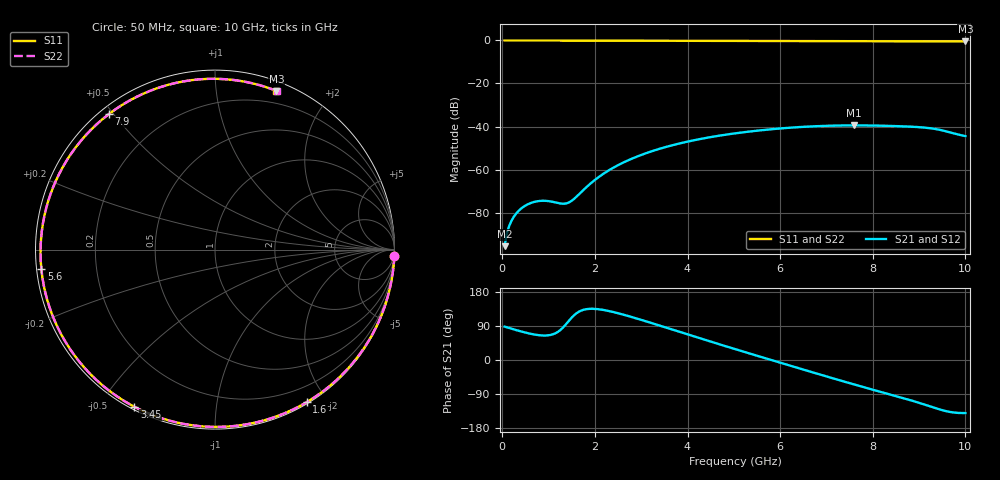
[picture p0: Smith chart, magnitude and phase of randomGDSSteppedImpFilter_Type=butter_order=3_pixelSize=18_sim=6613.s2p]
! freq	dB(S11)	phase(S11)	dB(S12)	phase(S12)
!  dB(S21)	phase(S21)	dB(S22)	phase(S22)
!S-par simulation data
#  GHz  S  DB  R 50
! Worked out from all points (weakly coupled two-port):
!   200 points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, 50 MHz to 10 GHz, reference 50 ohm
!   highest |S21| = -39.48 dB at 7.6 GHz (marker M1); lowest = -95.6 dB at 50 MHz (marker M2)
!   lowest |S11| = -0.5 dB at 10 GHz (marker M3), VSWR 37.61, Z = 4.16 + j72.8 ohm
!   |S11| at or under -10 dB: nowhere
!   |S22| runs from -0.5 to 0.0 dB; largest |S21 - S12| = 0
!   S11 on the Smith chart (normalised r, x): 50 MHz: 0, -59; 1.6 GHz: 0.02, -1.77; 3.45 GHz: 0.01, -0.61; 5.6 GHz: 0.01, -0.06; 7.9 GHz: 0.03, +0.49; 10 GHz: 0.08, +1.46
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0.05  -0.00 -1.9  -95.60 88.1  -95.60 88.1  -0.00 -1.9
0.3  -0.02 -11.5  -80.43 79.0  -80.43 79.0  -0.02 -11.5
0.5  -0.03 -19.0  -76.73 72.3  -76.73 72.3  -0.03 -19.0
0.75  -0.04 -28.4  -74.75 66.1  -74.75 66.1  -0.04 -28.4
1.4  -0.06 -52.0  -75.63 98.0  -75.63 98.0  -0.06 -52.0
1.6  -0.07 -59.0  -72.66 123.2  -72.66 123.2  -0.07 -59.0
1.75  -0.08 -64.2  -69.53 132.3  -69.53 132.3  -0.08 -64.2
2.1  -0.09 -75.9  -63.20 133.6  -63.20 133.6  -0.09 -75.9
2.45  -0.10 -87.2  -58.52 125.0  -58.52 125.0  -0.10 -87.2
2.9  -0.12 -101.1  -54.05 109.6  -54.05 109.6  -0.12 -101.1
3.4  -0.14 -115.7  -50.33 90.8  -50.33 90.8  -0.14 -115.7
3.45  -0.14 -117.2  -50.02 88.9  -50.02 88.9  -0.14 -117.2
4.25  -0.17 -139.1  -45.90 58.1  -45.90 58.1  -0.17 -139.1
5.05  -0.21 -159.8  -43.11 27.9  -43.11 27.9  -0.21 -159.8
5.6  -0.23 -173.6  -41.71 7.6  -41.71 7.6  -0.23 -173.6
6.15  -0.26 172.6  -40.65 -12.5  -40.65 -12.5  -0.26 172.6
6.7  -0.30 158.9  -39.92 -32.6  -39.92 -32.6  -0.30 158.9
7.6  -0.35 135.9  -39.48 -64.6  -39.48 -64.6  -0.35 135.9
7.9  -0.36 128.0  -39.52 -74.9  -39.52 -74.9  -0.36 128.0
8.35  -0.39 115.9  -39.70 -90.1  -39.70 -90.1  -0.39 115.9
9.2  -0.43 92.2  -40.69 -120.9  -40.69 -120.9  -0.43 92.2
10  -0.46 68.8  -44.45 -140.1  -44.45 -140.1  -0.46 68.8
